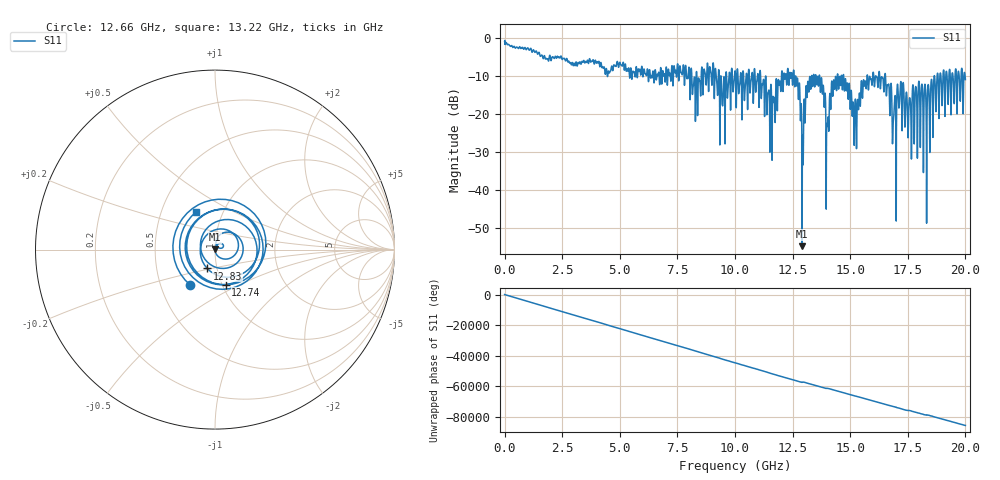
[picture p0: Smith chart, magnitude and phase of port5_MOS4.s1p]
! MS46122B
! 2250307/22442219
! 6/13/2025 8:47:16 AM
! C:\USERS\SPARKY\DOCUMENTS\VNA_DATA\JUNE13_2025\PORT5_MOS4.S1P
! CHANNEL.1
! TR.MEASUREMENT
! RAW.DATA
# GHZ S RI R 50.0
! FREQ.GHZ  S11RE  S11IM
!; PortSelection: Port_1
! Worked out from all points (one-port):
!   10001 points, 1 MHz to 20 GHz, reference 50 ohm
!   lowest |S11| = -54.7 dB at 12.91 GHz (marker M1), VSWR 1.00, Z = 50.1 + j0.177 ohm
!   |S11| at or under -10 dB: 11.11 GHz to 12.02 GHz (906.4 MHz wide, 7.84 % of centre); 14.72 GHz to 15.73 GHz (1.016 GHz wide, 6.68 % of centre); 16.53 GHz to 18.65 GHz (2.115 GHz wide, 12 % of centre) (the widest 3 of 76)
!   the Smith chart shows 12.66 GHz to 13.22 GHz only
!   S11 on the Smith chart (normalised r, x): 12.66 GHz: 0.71, -0.30; 12.74 GHz: 1.04, -0.43; 12.83 GHz: 0.90, -0.19; 13.22 GHz: 0.75, +0.33
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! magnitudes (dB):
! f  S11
! 1 MHz  -1.0
! 2.501 GHz  -5.7
! 5.001 GHz  -6.4
! 7.501 GHz  -7.0
! 8.297 GHz  -15.0
! 8.981 GHz  -10.8
! 9.497 GHz  -13.0
! 10 GHz  -8.7
! 10.92 GHz  -12.7
! 11.59 GHz  -19.7
! 12.5 GHz  -12.4
! 12.66 GHz  -12.4
! 12.74 GHz  -13.8
! 12.83 GHz  -18.9
! 12.91 GHz  -54.7
! 13.22 GHz  -12.6
! 13.74 GHz  -10.6
! 14.01 GHz  -23.3
! 14.37 GHz  -10.2
! 15 GHz  -18.6
! 15.19 GHz  -20.3
! 15.56 GHz  -11.7
! 16.18 GHz  -11.7
! 16.59 GHz  -13.5
! 16.91 GHz  -18.3
! 17.12 GHz  -18.2
! 17.5 GHz  -24.2
! 20 GHz  -11.0
